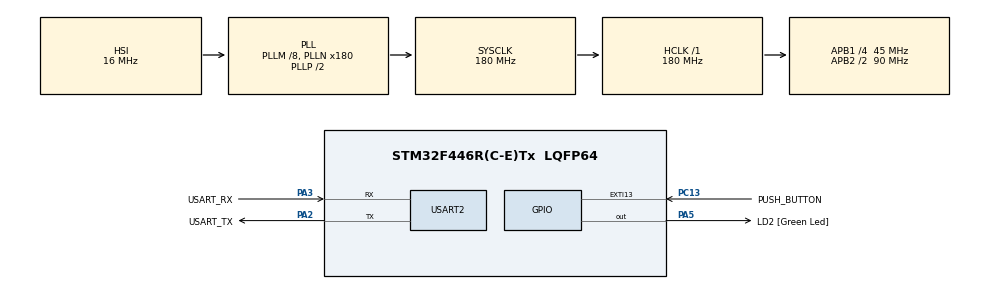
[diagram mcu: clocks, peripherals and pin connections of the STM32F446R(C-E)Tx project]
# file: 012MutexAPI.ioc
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Mcu.Family=STM32F4
VP_SYS_VS_tim6.Mode=TIM6
PH0-OSC_IN.Signal=RCC_OSC_IN
RCC.CortexFreq_Value=180000000
NVIC.TIM6_DAC_IRQn=true\:0\:0\:false\:false\:true\:false\:true
PC13.Signal=GPXTI13
PA14.GPIO_Label=TCK
VP_RTC_VS_RTC_Activate.Mode=RTC_Enabled
PC13.GPIO_Label=PUSH_BUTTON
RCC.APB1CLKDivider=RCC_HCLK_DIV4
PC14-OSC32_IN.Signal=RCC_OSC32_IN
NVIC.USART2_IRQn=true\:6\:0\:true\:false\:true\:true\:true
RCC.SYSCLKSource=RCC_SYSCLKSOURCE_PLLCLK
ProjectManager.StackSize=0x400
PA13.Signal=SYS_JTMS-SWDIO
PA3.Mode=Asynchronous
ProjectManager.TargetToolchain=STM32CubeIDE
RCC.HCLKFreq_Value=180000000
RCC.APB2TimFreq_Value=180000000
RCC.USBFreq_Value=180000000
RCC.LSE_VALUE=32768
PC15-OSC32_OUT.Signal=RCC_OSC32_OUT
RCC.AHBFreq_Value=180000000
PA5.Signal=GPIO_Output
RCC.HSE_VALUE=8000000
board=NUCLEO-F446RE
RCC.VCOOutputFreq_Value=360000000
RCC.APB2Freq_Value=90000000
PH1-OSC_OUT.Signal=RCC_OSC_OUT
Mcu.Name=STM32F446R(C-E)Tx
PA2.Signal=USART2_TX
PA13.GPIO_Label=TMS
RCC.FLatency-AdvancedSettings=FLASH_LATENCY_5
PB3.Signal=SYS_JTDO-SWO
RCC.SYSCLKFreq_VALUE=180000000
Mcu.Package=LQFP64
NVIC.TimeBase=TIM6_DAC_IRQn
PA5.GPIO_Label=LD2 [Green Led]
PC13.GPIO_ModeDefaultEXTI=GPIO_MODE_IT_RISING
USART2.VirtualMode=VM_ASYNC
PA2.GPIO_Label=USART_TX
NVIC.TimeBaseIP=TIM6
PA14.Signal=SYS_JTCK-SWCLK
RTC.HourFormat=RTC_HOURFORMAT_12
ProjectManager.HeapSize=0x200
RCC.HSI_VALUE=16000000
NVIC.PriorityGroup=NVIC_PRIORITYGROUP_4
RCC.APB2CLKDivider=RCC_HCLK_DIV2
RCC.PLLM=8
RCC.PLLN=180
RCC.APB1TimFreq_Value=90000000
PA2.Mode=Asynchronous
RCC.APB1Freq_Value=45000000
PA3.GPIO_Label=USART_RX
PA3.Signal=USART2_RX
PB3.GPIO_Label=SWO

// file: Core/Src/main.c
/* USER CODE BEGIN Header */
/**
  ******************************************************************************
  * @file           : main.c
  * @brief          : Main program body
  ******************************************************************************
  * @attention
  *
  * <h2><center>&copy; Copyright (c) 2021 STMicroelectronics.
  * All rights reserved.</center></h2>
  *
  * This software component is licensed by ST under BSD 3-Clause license,
  * the "License"; You may not use this file except in compliance with the
  * License. You may obtain a copy of the License at:
  *                        opensource.org/licenses/BSD-3-Clause
  *
  ******************************************************************************
  */
/* USER CODE END Header */
#include "main.h"

/* USER CODE BEGIN Includes */
#include "stm32f4xx.h"
/* USER CODE END Includes */

/* USER CODE BEGIN PD */

// MUTEX switch : un comment the below line to use mutex
#define USE_MUTEX

/* Dimensions the buffer into which messages destined for stdout are placed. */
#define mainMAX_MSG_LEN	( 80 )
/* USER CODE END PD */

/* USER CODE BEGIN PM */
#define DWT_CTRL    (*(volatile uint32_t*)0xE0001000)

/* Used as a loop counter to create a very crude delay. */
#define mainDELAY_LOOP_COUNT		( 0xfffff )

/* USER CODE END PM */

RTC_HandleTypeDef hrtc;

UART_HandleTypeDef huart2;

/* USER CODE BEGIN PV */

char usr_msg[250] = {0};

TaskHandle_t xTaskHandle1 = NULL;
TaskHandle_t xTaskHandle2 = NULL;

/* USER CODE END PV */

void SystemClock_Config(void);
static void MX_GPIO_Init(void);
static void MX_RTC_Init(void);
static void MX_USART2_UART_Init(void);
/* USER CODE BEGIN PFP */
void printmsg(char *msg);

/* The task to be created.  Two instances of this task are created. */
static void prvPrintTask( void *pvParameters );

/* The function that uses a mutex to control access to standard out. */
static void prvNewPrintString( const portCHAR *pcString );

extern void SEGGER_UART_init(uint32_t);
/* USER CODE END PFP */

/* USER CODE BEGIN 0 */

#ifdef USE_MUTEX
	/* Declare a variable of type xSemaphoreHandle. This is used to reference the
	mutex type semaphore that is used to ensure mutual exclusive access to UART. */
	xSemaphoreHandle xMutex;
#endif

/* USER CODE END 0 */

int main(void)
{
  /* USER CODE BEGIN 1 */
	SEGGER_UART_init(500000);
	// Used to collect SEGGER Event time-stamps
	DWT->CTRL |= (1 << 0); //Enable CYCCNT in DWT_CTRL
  /* USER CODE END 1 */

  /* MCU Configuration--------------------------------------------------------*/

  /* Reset of all peripherals, Initializes the Flash interface and the Systick. */
  HAL_Init();

  /* Configure the system clock */
  SystemClock_Config();

  /* Initialize all configured peripherals */
  MX_GPIO_Init();
  MX_RTC_Init();
  MX_USART2_UART_Init();
  /* USER CODE BEGIN 2 */

  //Start Recording with Segger SystemView
  	SEGGER_SYSVIEW_Conf();
  	//SEGGER_SYSVIEW_Start();

	sprintf(usr_msg,"Demo of mutual exclusion using Mutex APIs\r\n");
	printmsg(usr_msg);

#ifdef USE_MUTEX
    /* Before a semaphore is used it must be explicitly created.  In this example
	a mutex type semaphore is created. */
    xMutex = xSemaphoreCreateMutex();
#endif

	/* The tasks are going to use a pseudo random delay, seed the random number
	generator. */
	srand(567);

#ifdef USE_MUTEX
	/* Only create the tasks if the semaphore was created successfully. */
	if( xMutex != NULL )
	{
#endif
		/* Create two instances of the tasks that attempt to write stdout.  The
		string they attempt to write is passed in as the task parameter.  The tasks
		are created at different priorities so some pre-emption will occur. */
		xTaskCreate( prvPrintTask, "Print1", 240, "Task 1 ******************************************\r\n", 1, NULL );
		xTaskCreate( prvPrintTask, "Print2", 240, "Task 2 ------------------------------------------\r\n", 2, NULL );

		/* Start the scheduler so the created tasks start executing. */
		vTaskStartScheduler();
#ifdef USE_MUTEX
	}
#endif

	sprintf(usr_msg, "Counting Semaphore creation failed... \r\n");
	printmsg(usr_msg);

	//Code will never reach here if creation of Queue/Semaphore was successful because the scheduler will be running the tasks indefinitely.
	//If it does reach here, then it is likely due to insufficient heap memory available for a resource to be created.

  /* USER CODE END 2 */

  /* Infinite loop */
	while(1)
	{

	}
}

void SystemClock_Config(void)
{
  RCC_OscInitTypeDef RCC_OscInitStruct = {0};
  RCC_ClkInitTypeDef RCC_ClkInitStruct = {0};
  RCC_PeriphCLKInitTypeDef PeriphClkInitStruct = {0};

  /** Configure the main internal regulator output voltage
  */
  __HAL_RCC_PWR_CLK_ENABLE();
  __HAL_PWR_VOLTAGESCALING_CONFIG(PWR_REGULATOR_VOLTAGE_SCALE1);
  /** Initializes the RCC Oscillators according to the specified parameters
  * in the RCC_OscInitTypeDef structure.
  */
  RCC_OscInitStruct.OscillatorType = RCC_OSCILLATORTYPE_HSI|RCC_OSCILLATORTYPE_LSI;
  RCC_OscInitStruct.LSEState = RCC_LSE_OFF;
  RCC_OscInitStruct.HSIState = RCC_HSI_ON;
  RCC_OscInitStruct.HSICalibrationValue = RCC_HSICALIBRATION_DEFAULT;
  RCC_OscInitStruct.LSIState = RCC_LSI_ON;
  RCC_OscInitStruct.PLL.PLLState = RCC_PLL_ON;
  RCC_OscInitStruct.PLL.PLLSource = RCC_PLLSOURCE_HSI;
  RCC_OscInitStruct.PLL.PLLM = 8;
  RCC_OscInitStruct.PLL.PLLN = 180;
  RCC_OscInitStruct.PLL.PLLP = RCC_PLLP_DIV2;
  RCC_OscInitStruct.PLL.PLLQ = 2;
  RCC_OscInitStruct.PLL.PLLR = 2;
  if (HAL_RCC_OscConfig(&RCC_OscInitStruct) != HAL_OK)
  {
    Error_Handler();
  }
  /** Activate the Over-Drive mode
  */
  if (HAL_PWREx_EnableOverDrive() != HAL_OK)
  {
    Error_Handler();
  }
  /** Initializes the CPU, AHB and APB buses clocks
  */
  RCC_ClkInitStruct.ClockType = RCC_CLOCKTYPE_HCLK|RCC_CLOCKTYPE_SYSCLK
                              |RCC_CLOCKTYPE_PCLK1|RCC_CLOCKTYPE_PCLK2;
  RCC_ClkInitStruct.SYSCLKSource = RCC_SYSCLKSOURCE_PLLCLK;
  RCC_ClkInitStruct.AHBCLKDivider = RCC_SYSCLK_DIV1;
  RCC_ClkInitStruct.APB1CLKDivider = RCC_HCLK_DIV4;
  RCC_ClkInitStruct.APB2CLKDivider = RCC_HCLK_DIV2;

  if (HAL_RCC_ClockConfig(&RCC_ClkInitStruct, FLASH_LATENCY_5) != HAL_OK)
  {
    Error_Handler();
  }
  PeriphClkInitStruct.PeriphClockSelection = RCC_PERIPHCLK_RTC;
  PeriphClkInitStruct.RTCClockSelection = RCC_RTCCLKSOURCE_LSI;
  if (HAL_RCCEx_PeriphCLKConfig(&PeriphClkInitStruct) != HAL_OK)
  {
    Error_Handler();
  }
}

static void MX_RTC_Init(void)
{

  /** Initialize RTC Only
  */
  hrtc.Instance = RTC;
  hrtc.Init.HourFormat = RTC_HOURFORMAT_12;
  hrtc.Init.AsynchPrediv = 127;
  hrtc.Init.SynchPrediv = 255;
  hrtc.Init.OutPut = RTC_OUTPUT_DISABLE;
  hrtc.Init.OutPutPolarity = RTC_OUTPUT_POLARITY_HIGH;
  hrtc.Init.OutPutType = RTC_OUTPUT_TYPE_OPENDRAIN;
  if (HAL_RTC_Init(&hrtc) != HAL_OK)
  {
    Error_Handler();
  }

}

static void MX_USART2_UART_Init(void)
{

  huart2.Instance = USART2;
  huart2.Init.BaudRate = 115200;
  huart2.Init.WordLength = UART_WORDLENGTH_8B;
  huart2.Init.StopBits = UART_STOPBITS_1;
  huart2.Init.Parity = UART_PARITY_NONE;
  huart2.Init.Mode = UART_MODE_TX_RX;
  huart2.Init.HwFlowCtl = UART_HWCONTROL_NONE;
  huart2.Init.OverSampling = UART_OVERSAMPLING_16;
  if (HAL_UART_Init(&huart2) != HAL_OK)
  {
    Error_Handler();
  }

}

static void MX_GPIO_Init(void)
{
  GPIO_InitTypeDef GPIO_InitStruct = {0};

  /* GPIO Ports Clock Enable */
  __HAL_RCC_GPIOC_CLK_ENABLE();
  __HAL_RCC_GPIOH_CLK_ENABLE();
  __HAL_RCC_GPIOA_CLK_ENABLE();
  __HAL_RCC_GPIOB_CLK_ENABLE();

  /*Configure GPIO pin Output Level */
  HAL_GPIO_WritePin(LD2_GPIO_Port, LD2_Pin, GPIO_PIN_RESET);

  /*Configure GPIO pin : PUSH_BUTTON_Pin */
  GPIO_InitStruct.Pin = PUSH_BUTTON_Pin;
  GPIO_InitStruct.Mode = GPIO_MODE_IT_RISING;
  GPIO_InitStruct.Pull = GPIO_NOPULL;
  HAL_GPIO_Init(PUSH_BUTTON_GPIO_Port, &GPIO_InitStruct);

  /*Configure GPIO pin : LD2_Pin */
  GPIO_InitStruct.Pin = LD2_Pin;
  GPIO_InitStruct.Mode = GPIO_MODE_OUTPUT_PP;
  GPIO_InitStruct.Pull = GPIO_NOPULL;
  GPIO_InitStruct.Speed = GPIO_SPEED_FREQ_LOW;
  HAL_GPIO_Init(LD2_GPIO_Port, &GPIO_InitStruct);

}

/* USER CODE BEGIN 4 */
static void prvNewPrintString(const portCHAR *pcString) {

	static char cBuffer[mainMAX_MSG_LEN];

#ifdef USE_MUTEX
	/* The semaphore is created before the scheduler is started so already
	exists by the time this task executes.
	Attempt to take the semaphore, blocking indefinitely if the mutex is not
	available immediately.  The call to xSemaphoreTake() will only return when
	the semaphore has been successfully obtained so there is no need to check the
	return value.  If any other delay period was used then the code must check
	that xSemaphoreTake() returns pdTRUE before accessing the resource (in this
	case standard out. */
	xSemaphoreTake(xMutex, portMAX_DELAY);
	{
#endif
		/* The following line will only execute once the semaphore has been
		successfully obtained - so standard out can be accessed freely. */
		sprintf(cBuffer, "%s", pcString);
		printmsg(cBuffer);
#ifdef USE_MUTEX
	}
	xSemaphoreGive(xMutex);
#endif

}

static void prvPrintTask(void *pvParameters) {

	char *pcStringToPrint;

	/* Two instances of this task are created so the string the task will send
	to prvNewPrintString() is passed in the task parameter.  Cast this to the
	required type. */
	pcStringToPrint = (char *) pvParameters;

	for(;;) {
		/* Print out the string using the newly defined function. */
		prvNewPrintString(pcStringToPrint);

		/* Wait a pseudo random time. Note that rand() is not necessarily
		re-entrant, but in this case it does not really matter as the code does
		not care what value is returned.  In a more secure application a version
		of rand() that is known to be re-entrant should be used - or calls to
		rand() should be protected using a critical section. */
		vTaskDelay(rand() & 0XF);
	}
}

void printmsg(char *msg) {

	for(uint32_t i = 0; i < strlen(msg); i++) {
		HAL_UART_Transmit(&huart2, (uint8_t*)&msg[i], sizeof(msg[i]), HAL_MAX_DELAY);
	}
}

/* USER CODE END 4 */

 /**
  * @brief  Period elapsed callback in non blocking mode
  * @note   This function is called  when TIM6 interrupt took place, inside
  * HAL_TIM_IRQHandler(). It makes a direct call to HAL_IncTick() to increment
  * a global variable "uwTick" used as application time base.
  * @param  htim : TIM handle
  * @retval None
  */
void HAL_TIM_PeriodElapsedCallback(TIM_HandleTypeDef *htim)
{
  if (htim->Instance == TIM6) {
    HAL_IncTick();
  }
}

void Error_Handler(void)
{
  __disable_irq();
  while (1)
  {
  }
}

/************************ (C) COPYRIGHT STMicroelectronics *****END OF FILE****/
